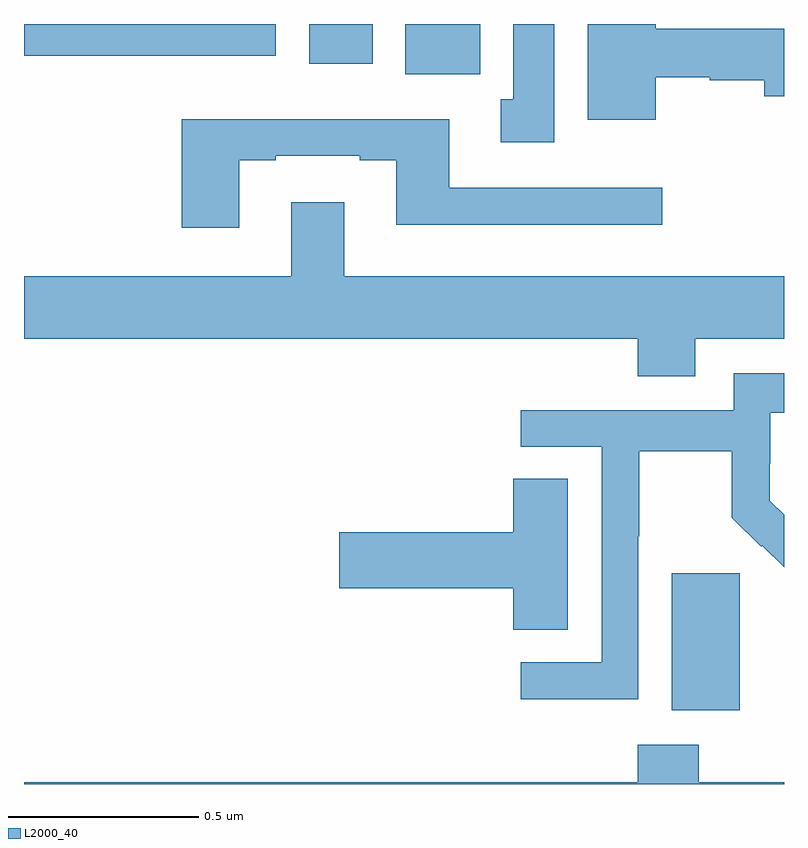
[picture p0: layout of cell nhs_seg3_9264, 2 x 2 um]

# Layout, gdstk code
import gdstk
lib = gdstk.Library(unit=1e-6, precision=1e-09)
def R(c, l, rs):  # rectangles x0, y0, x1, y1
    for r in rs: c.add(gdstk.rectangle(r[:2], r[2:], *l))
def P(c, l, *ps):  # polygons
    for p in ps: c.add(gdstk.Polygon(p, *l))
L2000_40 = (2000, 40)

nhs_seg3_9264 = lib.new_cell('nhs_seg3_9264')
R(nhs_seg3_9264, L2000_40, [(227.705,710.594,227.884,710.955), (227.003,712.268,227.2,712.4), (226.751,712.296,226.918,712.4), (226,712.316,226.663,712.4)])
P(nhs_seg3_9264, L2000_40, [(227.395,712.4),(227.288,712.4),(227.288,712.202),(227.255,712.202),(227.255,712.089),(227.395,712.089)],
  [(227.662,712.26),(227.805,712.26),(227.805,712.252),(227.948,712.252),(227.948,712.21),(228,712.21),(228,712.388),(227.662,712.388),(227.662,712.4),(227.483,712.4),(227.483,712.148),(227.662,712.148)],
  [(226.567,712.041),(226.663,712.041),(226.663,712.053),(226.883,712.053),(226.883,712.041),(226.979,712.041),(226.979,711.872),(227.68,711.872),(227.68,711.969),(227.119,711.969),(227.119,712.15),(226.415,712.15),(226.415,711.864),(226.567,711.864)],
  [(227.767,711.572),(228,711.572),(228,711.736),(226.843,711.736),(226.843,711.931),(226.703,711.931),(226.703,711.736),(226,711.736),(226,711.572),(227.615,711.572),(227.615,711.473),(227.767,711.473)],
  [(227.616,711.052),(227.619,711.052),(227.619,711.276),(227.863,711.276),(227.863,711.101),(227.94,711.024),(227.943,711.027),(228,710.971),(228,711.108),(227.962,711.146),(227.962,711.243),(227.964,711.243),(227.964,711.377),(228,711.377),(228,711.481),(227.868,711.481),(227.868,711.384),(227.307,711.384),(227.307,711.288),(227.52,711.288),(227.52,710.721),(227.307,710.721),(227.307,710.623),(227.616,710.623)],
  [(227.431,711.203),(227.288,711.203),(227.288,711.062),(226.83,711.062),(226.83,710.915),(227.288,710.915),(227.288,710.806),(227.431,710.806)],
  [(228,710.404),(227.775,710.404),(227.775,710.503),(227.615,710.503),(227.615,710.404),(226,710.404),(226,710.4),(228,710.4)])

lib.write_gds('nhs_seg3_9264.gds')
